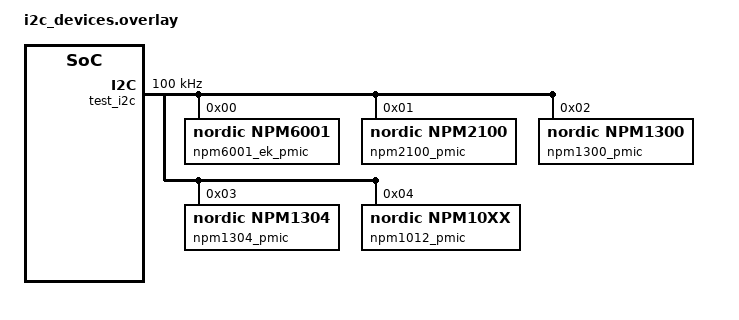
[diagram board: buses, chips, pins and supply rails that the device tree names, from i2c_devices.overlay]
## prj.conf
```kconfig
CONFIG_TEST=y
CONFIG_TEST_USERSPACE=y
CONFIG_WATCHDOG=y
```

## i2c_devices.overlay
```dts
/*
 * Copyright (c) 2024 TOKITA Hiroshi
 * SPDX-License-Identifier: Apache-2.0
 */

/ {
	test {
		#address-cells = <1>;
		#size-cells = <1>;

		test_i2c: i2c@11112222 {
			compatible = "vnd,i2c";
			reg = <0x11112222 0x1000>;
			#address-cells = <1>;
			#size-cells = <0>;
			clock-frequency = <100000>;
			status = "okay";

			npm6001_ek_pmic: pmic@0 {
				compatible = "nordic,npm6001";
				reg = <0x0>;

				npm6001_ek_wdt: watchdog {
					compatible = "nordic,npm6001-wdt";
				};
			};

			npm2100_pmic: pmic@1 {
				compatible = "nordic,npm2100";
				reg = <0x1>;

				npm2100_wdt: watchdog {
					compatible = "nordic,npm2100-wdt";
				};
			};

			npm1300_pmic: pmic@2 {
				compatible = "nordic,npm1300";
				reg = <0x2>;

				npm1300_wdt: watchdog {
					compatible = "nordic,npm1300-wdt";
				};
			};

			npm1304_pmic: pmic@3 {
				compatible = "nordic,npm1304";
				reg = <0x3>;

				npm1304_wdt: watchdog {
					compatible = "nordic,npm1304-wdt";
				};
			};

			npm1012_pmic: pmic@4 {
				compatible = "nordic,npm10xx";
				reg = <0x4>;

				npm1012_wdt: watchdog {
					compatible = "nordic,npm10xx-wdt";
				};
			};
		};

		test_gpio: gpio@deadbeef {
			compatible = "vnd,gpio";
			reg = <0xdeadbeef 0x1000>;
			gpio-controller;
			#gpio-cells = <0x2>;
			status = "okay";
		};
	};
};
```

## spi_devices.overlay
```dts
/*
 * Copyright (c) 2024 TOKITA Hiroshi
 * SPDX-License-Identifier: Apache-2.0
 */

/ {
	test {
		#address-cells = <1>;
		#size-cells = <1>;

		test_spi: spi@33334444 {
			compatible = "vnd,spi";
			reg = <0x33334444 0x1000>;
			#address-cells = <1>;
			#size-cells = <0>;
			clock-frequency = <2000000>;

			/* one entry for every devices at spi.dtsi */
			cs-gpios = <&test_gpio 0 0>,
				   <&test_gpio 0 0>,
				   <&test_gpio 0 0>,
				   <&test_gpio 0 0>,
				   <&test_gpio 0 0>;
			status = "okay";

			test_spi_fs26: fs26@0 {
				compatible = "nxp,fs26-wdog";
				reg = <0>;
				spi-max-frequency = <5000000>;
				type = "challenger";
				int-gpios = <&test_gpio 2 0>;
				status = "okay";
			};

			test_spi_tle927x: tle927x@1 {
				compatible = "infineon,tle927x";
				reg = <1>;
				spi-max-frequency = <4000000>;
				status = "okay";

				test_tle927x_wdt: watchdog {
					compatible = "infineon,tle927x-wdt";
				};
			};
		};

		test_gpio: gpio@deadbeef {
			compatible = "vnd,gpio";
			reg = <0xdeadbeef 0x1000>;
			gpio-controller;
			#gpio-cells = <0x2>;
			status = "okay";
		};
	};
};
```

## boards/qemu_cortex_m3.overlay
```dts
/*
 * Copyright © 2023 Calian Ltd.  All rights reserved.
 *
 * SPDX-License-Identifier: Apache-2.0
 */

/ {
	watchdog: watchdog@88888888 {
		compatible = "xlnx,xps-timebase-wdt-1.00.a";
		reg = <0x88888888 0x10000>;
		clocks = <&sysclk>;
		xlnx,wdt-interval = <31>;
		xlnx,wdt-enable-once = <1>;
	};

	cdns_wdt: watchdog@99999000 {
		compatible = "cdns,wdt-r1p2";
		reg = <0x99999000 0x1000>;
		clock-frequency = <100000000>;
	};
};
```

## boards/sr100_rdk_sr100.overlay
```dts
/*
 * Copyright (c) 2026 Antmicro <www.antmicro.com>
 * SPDX-License-Identifier: Apache-2.0
 */

/ {
	interrupt-parent = <&nvic>;

	test_wdog: watchdog@dead0000 {
		compatible = "arm,crsas-ma2-watchdog";
		reg = <0xdead0000 0x2000>;
		clocks = <&gcr 0x1>;
		interrupts = <0xf 0x1 0xe 0x1>;
	};
};
```

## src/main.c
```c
/*
 * Copyright © 2023 Calian Ltd.  All rights reserved.
 *
 * SPDX-License-Identifier: Apache-2.0
 */

int main(void)
{
	return 0;
}
```
